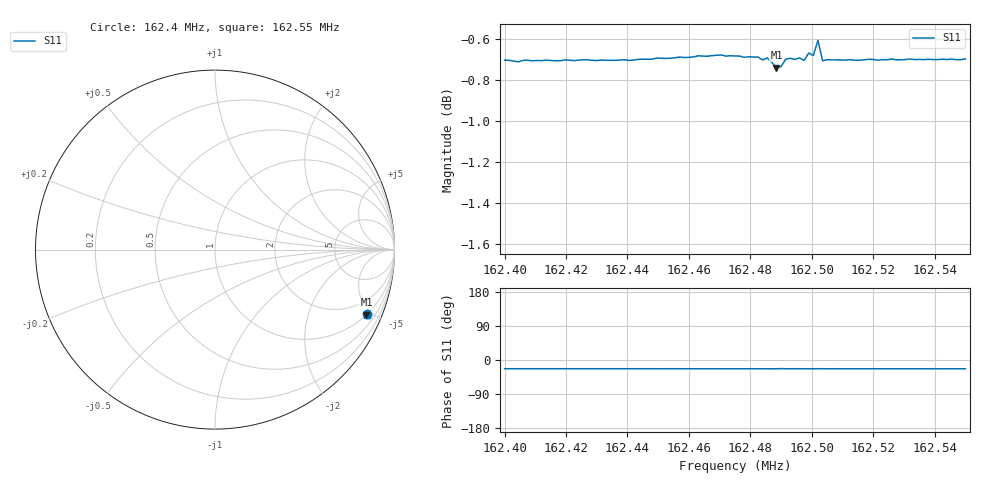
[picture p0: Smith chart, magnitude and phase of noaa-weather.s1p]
! Calibrated averaged scanner-service zoom
# Hz S RI R 50
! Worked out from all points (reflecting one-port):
!   101 points, 162.4 MHz to 162.55 MHz, reference 50 ohm
!   lowest |S11| = -0.7 dB at 162.4885 MHz (marker M1), VSWR 23.47, Z = 50.2 - j232 ohm
!   phase of S11 starts at -23 deg and turns -0 deg over the sweep
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1.624e8  0.8485 -0.361
1.624045e8  0.8477 -0.3607
1.624075e8  0.8485 -0.361
1.62418e8  0.8481 -0.361
1.624195e8  0.8485 -0.3612
1.624375e8  0.8484 -0.3614
1.62457e8  0.8496 -0.3625
1.624705e8  0.8505 -0.3632
1.62475e8  0.85 -0.363
1.62478e8  0.8493 -0.3628
1.624825e8  0.8495 -0.3627
1.62484e8  0.848 -0.3626
1.624855e8  0.8491 -0.3626
1.62487e8  0.846 -0.3636
1.624885e8  0.8436 -0.3627
1.6249e8  0.8474 -0.355
1.624915e8  0.8485 -0.3623
1.62493e8  0.8489 -0.3624
1.624945e8  0.8484 -0.3621
1.62496e8  0.8496 -0.3613
1.624975e8  0.848 -0.362
1.62499e8  0.8512 -0.3639
1.625005e8  0.8496 -0.3646
1.62502e8  0.8584 -0.3638
1.625035e8  0.8478 -0.362
1.625125e8  0.8482 -0.3624
1.62532e8  0.8485 -0.3626
1.6255e8  0.8483 -0.363
